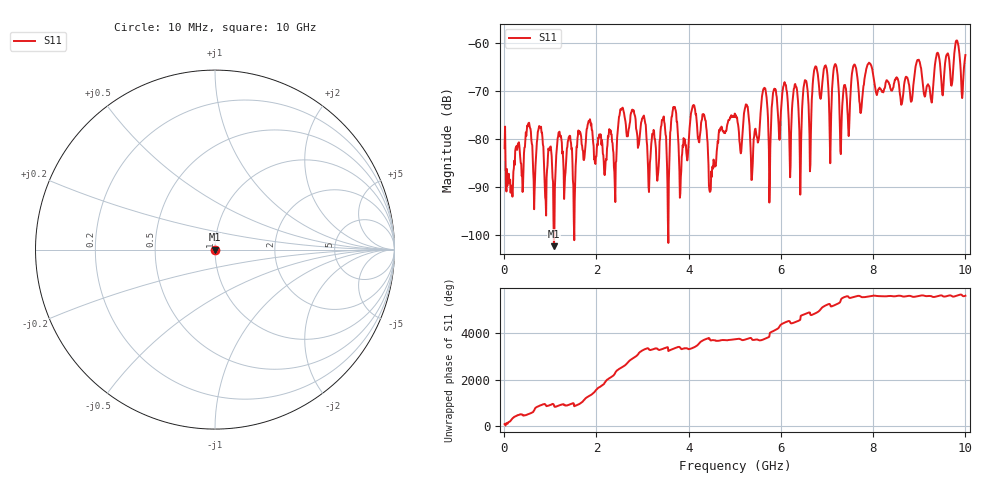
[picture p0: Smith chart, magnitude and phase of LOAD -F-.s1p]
!Keysight Technologies,N5242A,MY53222596,A.10.47.06
!Date: Thursday, November 09, 2017 12:27:13
!Correction: S33(Full 2 Port(1,3))
!S1P File: Measurement: S33:
# Hz S  MA  R 50
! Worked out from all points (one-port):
!   1000 points, 10 MHz to 10 GHz, reference 50 ohm
!   lowest |S11| = -102.3 dB at 1.08 GHz (marker M1), VSWR 1.00, Z = 50 - j0.000173 ohm
!   |S11| at or under -10 dB: start of sweep to end of sweep
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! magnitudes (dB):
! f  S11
! 10 MHz  -81.9
! 1.08 GHz  -102.3
! 1.26 GHz  -83.1
! 2.51 GHz  -74.5
! 3.76 GHz  -78.0
! 5.01 GHz  -75.4
! 5.38 GHz  -86.8
! 5.63 GHz  -69.7
! 5.75 GHz  -93.3
! 5.86 GHz  -69.6
! 5.96 GHz  -79.4
! 6.08 GHz  -68.2
! 6.19 GHz  -83.9
! 6.26 GHz  -71.5
! 6.43 GHz  -86.5
! 6.54 GHz  -67.9
! 6.64 GHz  -85.3
! 6.75 GHz  -64.9
! 6.97 GHz  -64.7
! 7.07 GHz  -85.1
! 7.18 GHz  -64.4
! 7.3 GHz  -83.2
! 7.51 GHz  -70.4
! 7.59 GHz  -64.5
! 7.73 GHz  -74.6
! 7.91 GHz  -64.1
! 8.76 GHz  -67.9
! 10 GHz  -62.5
